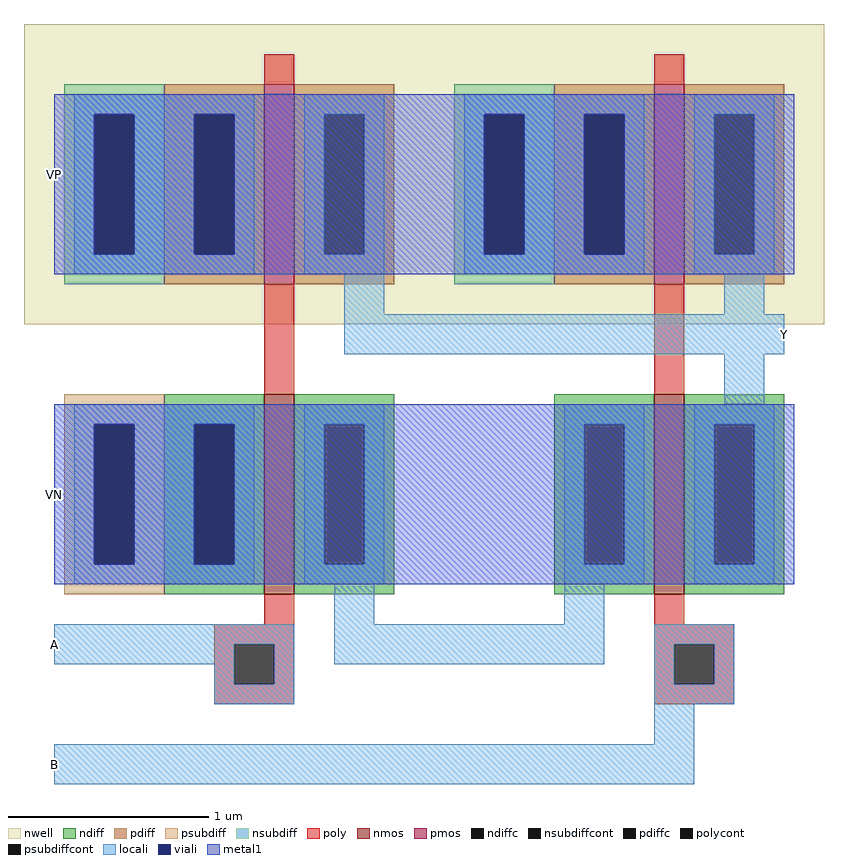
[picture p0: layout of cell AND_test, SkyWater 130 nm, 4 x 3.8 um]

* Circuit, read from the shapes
.subckt AND_test A B Y VP VN
XM1 n1 A VN VN sky130_fd_pr__nfet_01v8 w=1 l=0.15
XM2 Y B n1 VN sky130_fd_pr__nfet_01v8 w=1 l=0.15
XM3 Y A VP VP sky130_fd_pr__pfet_01v8 w=1 l=0.15
XM4 Y B VP VP sky130_fd_pr__pfet_01v8 w=1 l=0.15
.ends

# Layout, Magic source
magic
tech sky130A
<< nwell >>
rect -130 165 270 315
<< nmos >>
rect -10 30 5 130
rect 185 30 200 130
<< pmos >>
rect -10 185 5 285
rect 185 185 200 285
<< ndiff >>
rect -60 115 -10 130
rect -60 45 -45 115
rect -25 45 -10 115
rect -60 30 -10 45
rect 5 115 55 130
rect 5 45 20 115
rect 40 45 55 115
rect 5 30 55 45
rect 135 115 185 130
rect 135 45 150 115
rect 170 45 185 115
rect 135 30 185 45
rect 200 115 250 130
rect 200 45 215 115
rect 235 45 250 115
rect 200 30 250 45
<< pdiff >>
rect -60 270 -10 285
rect -60 200 -45 270
rect -25 200 -10 270
rect -60 185 -10 200
rect 5 270 55 285
rect 5 200 20 270
rect 40 200 55 270
rect 5 185 55 200
rect 135 270 185 285
rect 135 200 150 270
rect 170 200 185 270
rect 135 185 185 200
rect 200 270 250 285
rect 200 200 215 270
rect 235 200 250 270
rect 200 185 250 200
<< ndiffc >>
rect -45 45 -25 115
rect 20 45 40 115
rect 150 45 170 115
rect 215 45 235 115
<< pdiffc >>
rect -45 200 -25 270
rect 20 200 40 270
rect 150 200 170 270
rect 215 200 235 270
<< psubdiff >>
rect -110 115 -60 130
rect -110 45 -95 115
rect -75 45 -60 115
rect -110 30 -60 45
<< nsubdiff >>
rect -110 270 -60 285
rect -110 200 -95 270
rect -75 200 -60 270
rect -110 185 -60 200
rect 85 270 135 285
rect 85 200 100 270
rect 120 200 135 270
rect 85 185 135 200
<< psubdiffcont >>
rect -95 45 -75 115
<< nsubdiffcont >>
rect -95 200 -75 270
rect 100 200 120 270
<< poly >>
rect -10 285 5 300
rect 185 285 200 300
rect -10 130 5 185
rect 185 130 200 185
rect -10 15 5 30
rect -35 5 5 15
rect -35 -15 -25 5
rect -5 -15 5 5
rect -35 -25 5 -15
rect 185 15 200 30
rect 185 5 225 15
rect 185 -15 195 5
rect 215 -15 225 5
rect 185 -25 225 -15
<< polycont >>
rect -25 -15 -5 5
rect 195 -15 215 5
<< locali >>
rect -105 270 -15 280
rect -105 200 -95 270
rect -75 200 -45 270
rect -25 200 -15 270
rect -105 190 -15 200
rect 10 270 50 280
rect 10 200 20 270
rect 40 200 50 270
rect 10 190 50 200
rect 90 270 180 280
rect 90 200 100 270
rect 120 200 150 270
rect 170 200 180 270
rect 90 190 180 200
rect 205 270 245 280
rect 205 200 215 270
rect 235 200 245 270
rect 205 190 245 200
rect 30 170 50 190
rect 220 170 240 190
rect 30 150 250 170
rect 220 125 240 150
rect -105 115 -15 125
rect -105 45 -95 115
rect -75 45 -45 115
rect -25 45 -15 115
rect -105 35 -15 45
rect 10 115 50 125
rect 10 45 20 115
rect 40 45 50 115
rect 10 35 50 45
rect 140 115 180 125
rect 140 45 150 115
rect 170 45 180 115
rect 140 35 180 45
rect 205 115 245 125
rect 205 45 215 115
rect 235 45 245 115
rect 205 35 245 45
rect 25 15 45 35
rect 140 15 160 35
rect -115 5 5 15
rect -115 -5 -25 5
rect -35 -15 -25 -5
rect -5 -15 5 5
rect 25 -5 160 15
rect 185 5 225 15
rect -35 -25 5 -15
rect 185 -15 195 5
rect 215 -15 225 5
rect 185 -25 225 -15
rect 185 -45 205 -25
rect -115 -65 205 -45
<< viali >>
rect -95 200 -75 270
rect -45 200 -25 270
rect 100 200 120 270
rect 150 200 170 270
rect -95 45 -75 115
rect -45 45 -25 115
<< metal1 >>
rect -115 270 255 280
rect -115 200 -95 270
rect -75 200 -45 270
rect -25 200 100 270
rect 120 200 150 270
rect 170 200 255 270
rect -115 190 255 200
rect -115 115 255 125
rect -115 45 -95 115
rect -75 45 -45 115
rect -25 45 255 115
rect -115 35 255 45
<< labels >>
rlabel metal1 -115 80 -115 80 7 VN
port 5 w
rlabel locali -115 -55 -115 -55 7 B
port 2 w
rlabel locali -115 5 -115 5 7 A
port 1 w
rlabel locali 250 160 250 160 3 Y
port 3 e
rlabel metal1 -115 240 -115 240 7 VP
port 4 w
<< end >>
